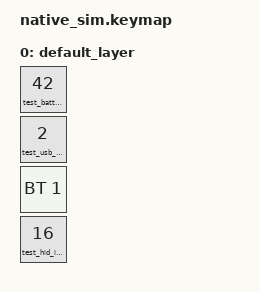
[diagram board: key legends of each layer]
#include <dt-bindings/zmk/bt.h>
#include <dt-bindings/zmk/keys.h>
#include <dt-bindings/zmk/kscan_mock.h>
#include <dt-bindings/zmk/led_matrix.h>
#include <dt-bindings/zmk/led_matrix_colors.h>
#include <dt-bindings/led/led.h>
#include <behaviors.dtsi>

/ {
    chosen {
        zmk,kscan = &kscan;
        zmk,led-matrix = &led_matrix;
    };

    behaviors {
        test_battery_state: test_battery_state {
            compatible = "zmk,behavior-raise-battery-state";
            #binding-cells = <1>;
        };

        test_usb_state: test_usb_state {
            compatible = "zmk,behavior-raise-usb-conn-state";
            #binding-cells = <1>;
        };

        test_hid_indicators: test_hid_indicators {
            compatible = "zmk,behavior-raise-hid-indicators";
            #binding-cells = <1>;
        };
    };

    kscan: native_posix_64_kscan_mock {
        compatible = "zmk,kscan-mock";
        rows = <1>;
        columns = <4>;
        exit-after;
        events = <
            ZMK_MOCK_PRESS(0,0,10)
            ZMK_MOCK_RELEASE(0,0,20)
            ZMK_MOCK_PRESS(0,1,40)
            ZMK_MOCK_RELEASE(0,1,20)
            ZMK_MOCK_PRESS(0,2,120)
            ZMK_MOCK_RELEASE(0,2,20)
            ZMK_MOCK_PRESS(0,3,200)
            ZMK_MOCK_RELEASE(0,3,20)
        >;
    };

    keymap {
        compatible = "zmk,keymap";

        default_layer {
            bindings = <
                &test_battery_state 42
                &test_usb_state 2
                &bt BT_SEL 1
                &test_hid_indicators 16
            >;
        };
    };

    led_matrix_dev: led_matrix_dev {
        compatible = "zmk,led-mock";
        mode = "color";

        led_0 { index = <0>; color-mapping = <LED_COLOR_ID_RED LED_COLOR_ID_GREEN LED_COLOR_ID_BLUE>; };
        led_1 { index = <1>; color-mapping = <LED_COLOR_ID_RED LED_COLOR_ID_GREEN LED_COLOR_ID_BLUE>; };
    };

    led_matrix: led_matrix {
        compatible = "zmk,led-matrix";
        led-driver = "matrix";
        led-device = <&led_matrix_dev>;
        led-count = <2>;
        status-timeout-ms = <1000>;
        hid-timeout-ms = <1000>;
        battery-leds = <0>;
        battery-color-on = <0x00FFFF>;
        battery-color-off = <LM_BLACK>;
        usb-leds = <0>;
        usb-color-hid = <0xFF0000>;
        usb-color-powered = <LM_BLACK>;
        usb-color-none = <LM_BLACK>;
        ble-profile-leds = <1 0>;
        ble-color-open = <0x0000FF>;
        ble-color-connected = <LM_BLACK>;
        ble-color-disconnected = <LM_BLACK>;
        hid-kana-leds = <0>;
        hid-kana-color-on = <0xFF00FF>;
        hid-kana-color-off = <LM_BLACK>;
        matrix-led-grid = <
            0 1
        >;

        profile0 {
            profile-id = <0>;
            display-name = "Off";
            renderer = "solid";
            colors = <LM_BLACK>;
            brightness = <100>;
            period-ms = <1000>;
        };
    };
};
